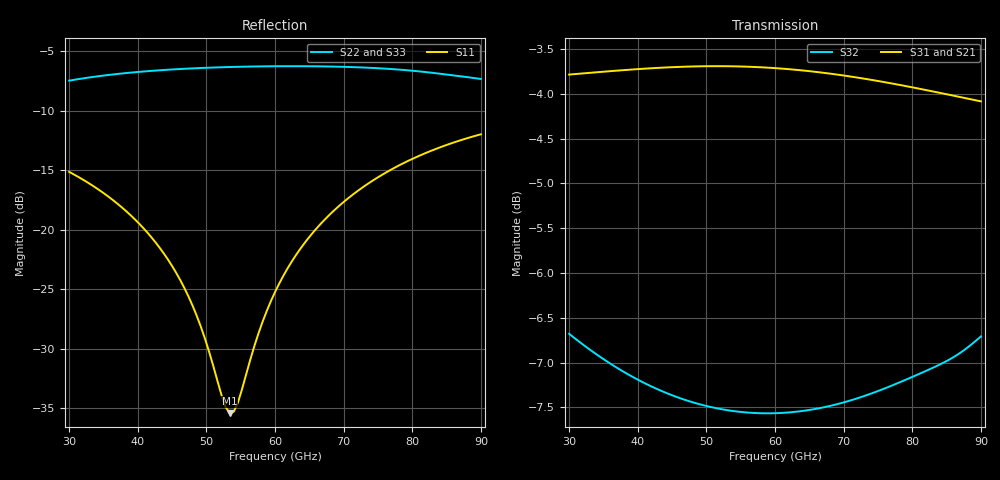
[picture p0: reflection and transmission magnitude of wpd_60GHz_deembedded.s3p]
! Created with skrf 2.2.0 (http://scikit-rf.org).
# GHz S DB R 50.0
! Port[1] = P1
! Port[2] = P2
! Port[3] = P3
!freq dBS11 angS11 dBS12 angS12 dBS13 angS13
! dBS21 angS21 dBS22 angS22 dBS23 angS23
! dBS31 angS31 dBS32 angS32 dBS33 angS33
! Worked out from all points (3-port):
!   101 points, 30 GHz to 90 GHz, reference 50 ohm
!   strongest paths, dB at 30 GHz, 45 GHz, 60 GHz, 75 GHz, 90 GHz:
!     S31: -3.8, -3.7, -3.7, -3.9, -4.1
!     S21: -3.8, -3.7, -3.7, -3.9, -4.1
!     S32: -6.7, -7.4, -7.6, -7.3, -6.7
!   lowest |S11| = -35.4 dB at 53.4 GHz (marker M1), VSWR 1.03, Z = 51.7 + j0.363 ohm
!   |S11| at or under -10 dB: start of sweep to end of sweep
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30  -15.15 128.4  -3.79 -45.2  -3.78 -45.2
    -3.79 -45.2  -7.49 44.4  -6.68 -99.3
    -3.78 -45.2  -6.68 -99.3  -7.50 44.4
38.4  -18.50 112.6  -3.74 -58.2  -3.73 -58.2
      -3.74 -58.2  -6.85 27.6  -7.12 -123.1
      -3.73 -58.2  -7.12 -123.1  -6.86 27.6
44.4  -22.51 98.3  -3.71 -67.6  -3.70 -67.6
      -3.71 -67.6  -6.57 17.3  -7.35 -139.7
      -3.70 -67.6  -7.35 -139.7  -6.58 17.3
48.6  -27.24 81.9  -3.70 -74.2  -3.69 -74.2
      -3.70 -74.2  -6.44 10.6  -7.46 -151.2
      -3.69 -74.2  -7.46 -151.2  -6.46 10.6
53.4  -35.42 12.0  -3.70 -81.9  -3.69 -81.8
      -3.70 -81.9  -6.35 3.3  -7.54 -164.3
      -3.69 -81.8  -7.54 -164.3  -6.36 3.3
54.6  -34.52 -21.0  -3.70 -83.8  -3.69 -83.8
      -3.70 -83.8  -6.33 1.5  -7.55 -167.5
      -3.69 -83.8  -7.55 -167.5  -6.34 1.5
60  -25.25 -75.4  -3.72 -92.4  -3.71 -92.4
    -3.72 -92.4  -6.28 -6.6  -7.57 177.8
    -3.71 -92.4  -7.57 177.8  -6.29 -6.6
64.8  -20.76 -90.3  -3.75 -100.0  -3.75 -100.0
      -3.75 -100.0  -6.28 -13.8  -7.53 164.7
      -3.75 -100.0  -7.53 164.7  -6.29 -13.8
71.4  -17.03 -104.4  -3.82 -110.5  -3.81 -110.5
      -3.82 -110.5  -6.36 -24.1  -7.41 146.5
      -3.81 -110.5  -7.41 146.5  -6.37 -24.1
90  -11.99 -135.7  -4.09 -139.1  -4.08 -139.1
    -4.09 -139.1  -7.35 -58.8  -6.71 93.6
    -4.08 -139.1  -6.71 93.6  -7.36 -58.8
